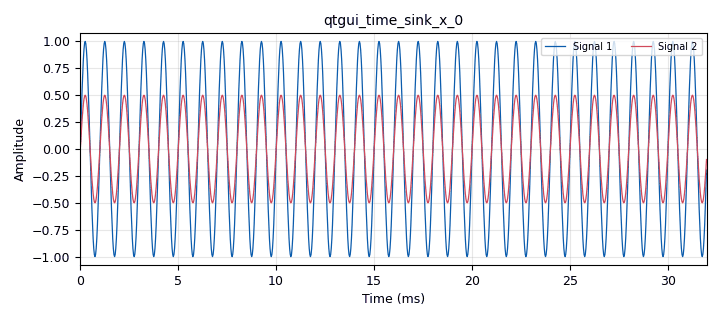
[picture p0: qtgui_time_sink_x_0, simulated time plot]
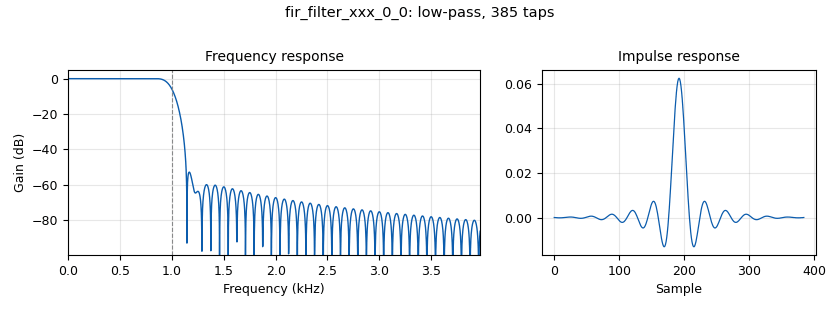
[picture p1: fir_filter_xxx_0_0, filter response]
options:
  parameters:
    author: Philippe PUJAS
    generate_options: qt_gui
    id: rep_harmonique
    output_language: python
    title: Réponse Harmonique R205
  states: {}

blocks:
- name: frequence
  id: variable_qtgui_range
  parameters:
    outputmsgname: value
    showports: 'False'
    start: '0'
    step: '10'
    stop: '3000'
    value: '1000'
  states: {}
- name: params_filtre
  id: variable_low_pass_filter_taps
  parameters:
    cutoff_freq: '1000'
    gain: '1.0'
    samp_rate: samp_rate
    width: '200'
    win: window.WIN_HAMMING
  states: {}
- name: samp_rate
  id: variable
  parameters:
    value: '32000'
  states: {}
- name: analog_sig_source_x_0
  id: analog_sig_source_x
  parameters:
    amp: '1'
    freq: frequence
    offset: '0'
    phase: '0'
    samp_rate: samp_rate
    type: float
    waveform: analog.GR_SIN_WAVE
  states: {}
- name: blocks_throttle_0
  id: blocks_throttle
  parameters:
    samples_per_second: samp_rate
    type: float
  states: {}
- name: fir_filter_xxx_0_0
  id: fir_filter_xxx
  parameters:
    decim: '1'
    taps: params_filtre
    type: fff
  states: {}
- name: qtgui_time_sink_x_0
  id: qtgui_time_sink_x
  parameters:
    ctrlpanel: 'True'
    nconnections: '2'
    size: '1024'
    srate: samp_rate
    tr_mode: qtgui.TRIG_MODE_AUTO
    type: float
  states: {}

connections:
- [analog_sig_source_x_0, '0', blocks_throttle_0, '0']
- [analog_sig_source_x_0, '0', fir_filter_xxx_0_0, '0']
- [blocks_throttle_0, '0', qtgui_time_sink_x_0, '0']
- [fir_filter_xxx_0_0, '0', qtgui_time_sink_x_0, '1']

metadata:
  file_format: 1
  grc_version: 3.10.4.0
